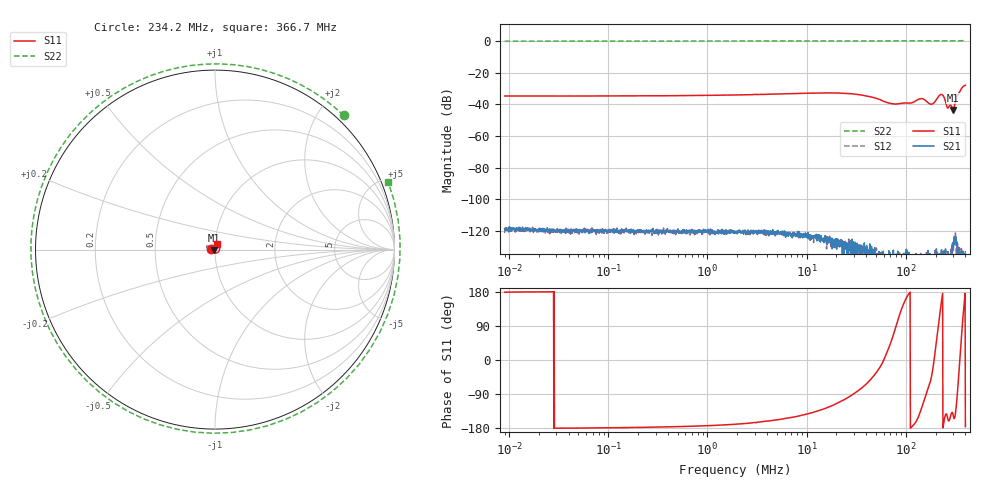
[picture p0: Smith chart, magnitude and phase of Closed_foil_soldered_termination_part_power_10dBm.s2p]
!Keysight Technologies,E5080A,MY55201161,A.12.60.03
!Date: Monday, January 06, 2020 21:17:27
!Correction: S11(Full 2 Port(1,2))
!S21(Full 2 Port(1,2))
!S12(Full 2 Port(1,2))
!S22(Full 2 Port(1,2))
!S2P File: Measurements: S11, S21, S12, S22:Log Frequency Sweep
# Hz S  dB  R 50
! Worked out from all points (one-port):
!   1601 points, 9 kHz to 400 MHz, reference 50 ohm
!   lowest |S11| = -43.4 dB at 300 MHz (marker M1), VSWR 1.01, Z = 49.5 - j0.393 ohm
!   |S11| at or under -10 dB: start of sweep to end of sweep
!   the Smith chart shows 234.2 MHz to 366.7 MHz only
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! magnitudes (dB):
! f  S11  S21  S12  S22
! 9 kHz  -34.6  -118.4  -121.1  0.0
! 53.68 kHz  -34.7  -119.5  -119.6  0.0
! 320.2 kHz  -34.5  -120.1  -122.5  0.0
! 1.91 MHz  -34.0  -121.1  -121.0  0.1
! 11.32 MHz  -32.8  -123.9  -125.1  0.1
! 31.7 MHz  -33.5  -130.0  -131.8  0.2
! 49.96 MHz  -36.0  -136.9  -134.0  0.2
! 67.51 MHz  -39.1  -132.4  -148.4  0.2
! 78.21 MHz  -39.8  -134.5  -139.1  0.2
! 112.2 MHz  -39.1  -145.3  -147.1  0.2
! 143.8 MHz  -36.3  -139.1  -142.8  0.3
! 182.9 MHz  -39.8  -146.1  -146.9  0.3
! 217.6 MHz  -34.4  -139.8  -138.1  0.3
! 228.1 MHz  -33.6  -140.2  -134.4  0.3
! 240.6 MHz  -34.8  -138.0  -137.4  0.3
! 264.2 MHz  -42.2  -139.8  -135.3  0.3
! 300 MHz  -43.4  -127.5  -133.4  0.2
! 310.2 MHz  -40.9  -127.8  -124.4  0.2
! 331.7 MHz  -34.5  -130.0  -128.1  0.2
! 349.9 MHz  -32.0  -146.6  -154.6  0.2
! 376.6 MHz  -28.8  -132.6  -141.0  0.4
! 400 MHz  -27.9  -140.9  -131.4  0.5
